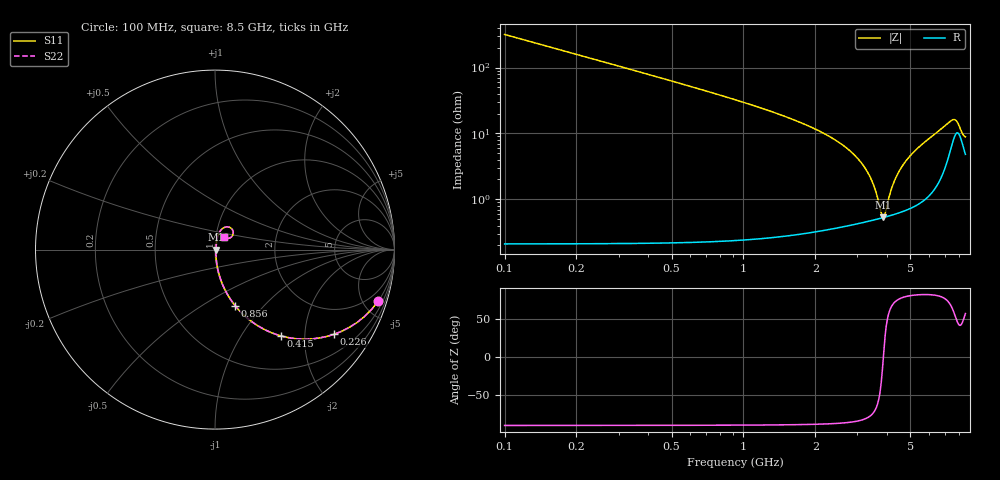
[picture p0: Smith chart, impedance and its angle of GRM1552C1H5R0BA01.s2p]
!Murata Part Number: GRM1552C1H5R0BA01
!These Parameters are Measured in Series Mode Connection
!Data Generated on Mar 30, 2021
!  o--ll--o
!Port1  Port2
!  o------o
!Operation Temp=25[degC], DC Bias Voltage=0[V]
!Freq. Start=100[MHz] Stop=9[GHz] 401[Steps]
# Hz S RI R 50
!Freq.(Hz) S11(Real) S11(Imag) S21(Real) S21(Imag) S12(Real) S12(Imag) S22(Real) S22(Imag)
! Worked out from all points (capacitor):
!   401 points, 100 MHz to 8.5 GHz, reference 50 ohm
!   read as one part in series: C = 5 pF near 142 MHz
!   lowest |Z| = 530 mohm at 3.859 GHz (marker M1)
!   series resonance near 3.854 GHz, so ESL is about 340 pH
!   S11 on the Smith chart (normalised r, x): 100 MHz: 1.00, -6.36; 226 MHz: 1.00, -2.81; 415 MHz: 1.00, -1.52; 856 MHz: 1.00, -0.71; 8.5 GHz: 1.10, +0.15
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1e8  0.9099 -0.286  0.0901 0.286  0.0901 0.286  0.9099 -0.286
2.26e8  0.6631 -0.4719  0.3369 0.4719  0.3369 0.4719  0.6631 -0.4719
4.15e8  0.3653 -0.4801  0.6347 0.4801  0.6347 0.4801  0.3653 -0.4801
6.04e8  0.21 -0.4052  0.79 0.4052  0.79 0.4052  0.21 -0.4052
8.56e8  0.1127 -0.3129  0.8873 0.3129  0.8873 0.3129  0.1127 -0.3129
1.507e9  0.0335 -0.1725  0.9665 0.1725  0.9665 0.1725  0.0335 -0.1725
2.914e9  0.00631 -0.0465  0.9937 0.0465  0.9937 0.0465  0.00631 -0.0465
3.187e9  0.00544 -0.0315  0.9946 0.0315  0.9946 0.0315  0.00544 -0.0315
3.418e9  0.00511 -0.0199  0.9949 0.0199  0.9949 0.0199  0.00511 -0.0199
3.586e9  0.00506 -0.0119  0.9949 0.0119  0.9949 0.0119  0.00506 -0.0119
3.796e9  0.00519 -0.0025  0.9948 0.0025  0.9948 0.0025  0.00519 -0.0025
3.859e9  0.00527 0.000229  0.9947 -0.000229  0.9947 -0.000229  0.00527 0.000229
3.922e9  0.00536 0.00292  0.9946 -0.00292  0.9946 -0.00292  0.00536 0.00292
4.132e9  0.00578 0.0116  0.9942 -0.0116  0.9942 -0.0116  0.00578 0.0116
4.3e9  0.00623 0.0184  0.9938 -0.0184  0.9938 -0.0184  0.00623 0.0184
4.531e9  0.00702 0.0273  0.993 -0.0273  0.993 -0.0273  0.00702 0.0273
4.846e9  0.00841 0.0391  0.9916 -0.0391  0.9916 -0.0391  0.00841 0.0391
5.707e9  0.0146 0.0702  0.9854 -0.0702  0.9854 -0.0702  0.0146 0.0702
7.114e9  0.0511 0.1229  0.9489 -0.1229  0.9489 -0.1229  0.0511 0.1229
7.702e9  0.0988 0.1075  0.9012 -0.1075  0.9012 -0.1075  0.0988 0.1075
8.269e9  0.0682 0.0622  0.9318 -0.0622  0.9318 -0.0622  0.0682 0.0622
8.5e9  0.0507 0.0679  0.9493 -0.0679  0.9493 -0.0679  0.0507 0.0679
